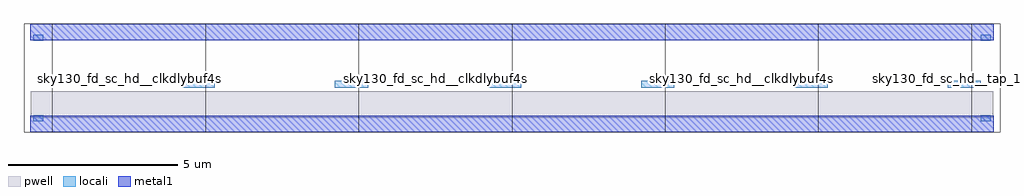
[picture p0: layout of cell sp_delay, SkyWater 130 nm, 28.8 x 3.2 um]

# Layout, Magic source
magic
tech sky130A
magscale 1 2
<< pwell >>
rect 3 38 5681 195
<< locali >>
rect 17 491 75 527
rect 5609 491 5667 527
rect 893 215 1089 257
rect 1797 215 1993 257
rect 2701 215 2897 257
rect 3605 215 3801 257
rect 4509 215 4705 257
rect 5413 215 5609 257
rect 17 17 75 53
rect 5609 17 5667 53
<< metal1 >>
rect 0 496 5684 592
rect 0 -48 5684 48
use sky130_fd_sc_hd__clkdlybuf4s50_2  sky130_fd_sc_hd__clkdlybuf4s50_2_0 $PDKPATH/libs.ref/sky130_fd_sc_hd/mag
transform 1 0 168 0 1 0
box -38 -48 866 592
use sky130_fd_sc_hd__clkdlybuf4s50_2  sky130_fd_sc_hd__clkdlybuf4s50_2_1
transform 1 0 1072 0 1 0
box -38 -48 866 592
use sky130_fd_sc_hd__clkdlybuf4s50_2  sky130_fd_sc_hd__clkdlybuf4s50_2_2
transform 1 0 1976 0 1 0
box -38 -48 866 592
use sky130_fd_sc_hd__clkdlybuf4s50_2  sky130_fd_sc_hd__clkdlybuf4s50_2_3
transform 1 0 2880 0 1 0
box -38 -48 866 592
use sky130_fd_sc_hd__clkdlybuf4s50_2  sky130_fd_sc_hd__clkdlybuf4s50_2_4
transform 1 0 3784 0 1 0
box -38 -48 866 592
use sky130_fd_sc_hd__clkdlybuf4s50_2  sky130_fd_sc_hd__clkdlybuf4s50_2_5
transform 1 0 4688 0 1 0
box -38 -48 866 592
use sky130_fd_sc_hd__tap_1  sky130_fd_sc_hd__tap_1_0 $PDKPATH/libs.ref/sky130_fd_sc_hd/mag
transform 1 0 0 0 1 0
box -38 -48 130 592
use sky130_fd_sc_hd__tap_1  sky130_fd_sc_hd__tap_1_1
transform 1 0 5592 0 1 0
box -38 -48 130 592
<< end >>
